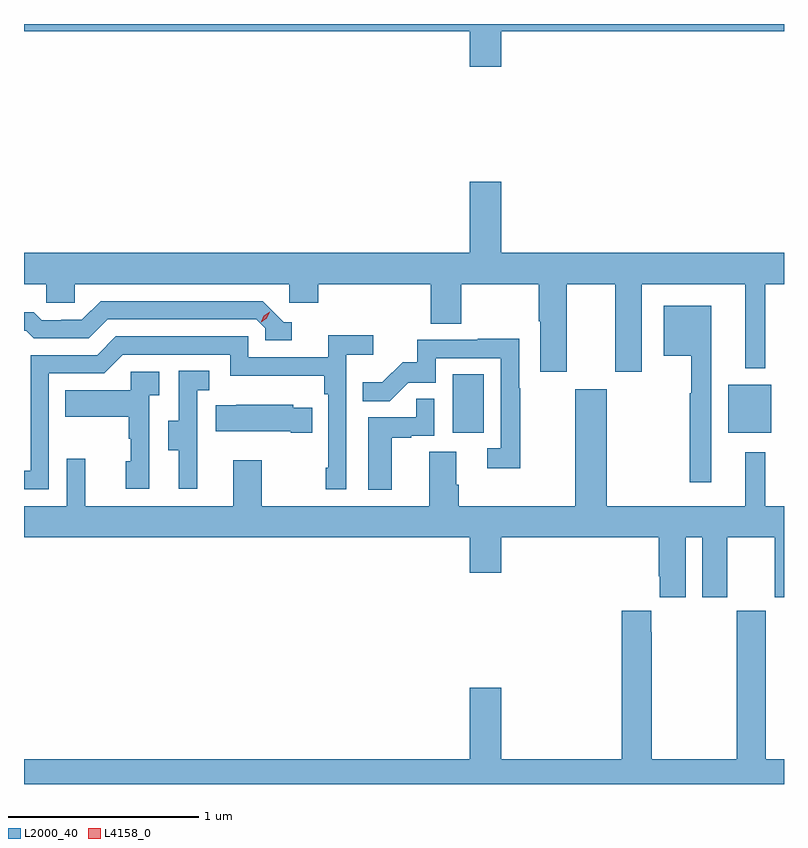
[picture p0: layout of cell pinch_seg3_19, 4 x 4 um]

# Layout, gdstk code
import gdstk
lib = gdstk.Library(unit=1e-6, precision=1e-09)
def R(c, l, rs):  # rectangles x0, y0, x1, y1
    for r in rs: c.add(gdstk.rectangle(r[:2], r[2:], *l))
def P(c, l, *ps):  # polygons
    for p in ps: c.add(gdstk.Polygon(p, *l))
L2000_40 = (2000, 40)
L4158_0 = (4158, 0)

pinch_seg3_19 = lib.new_cell('pinch_seg3_19')
R(pinch_seg3_19, L2000_40, [(1143.389,729.437,1143.616,729.691), (1141.94,729.438,1142.104,729.745)])
P(pinch_seg3_19, L2000_40, [(1142.194,731.552),(1143.683,731.552),(1143.683,731.589),(1139.683,731.589),(1139.683,731.552),(1142.03,731.552),(1142.03,731.364),(1142.194,731.364)],
  [(1142.539,730.22),(1142.795,730.22),(1142.795,729.759),(1142.935,729.759),(1142.935,730.22),(1143.479,730.22),(1143.479,729.776),(1143.583,729.776),(1143.583,730.22),(1143.683,730.22),(1143.683,730.384),(1142.194,730.384),(1142.194,730.759),(1142.03,730.759),(1142.03,730.384),(1139.683,730.384),(1139.683,730.22),(1139.799,730.22),(1139.799,730.122),(1139.949,730.122),(1139.949,730.22),(1141.08,730.22),(1141.08,730.122),(1141.232,730.122),(1141.232,730.22),(1141.823,730.22),(1141.823,730.012),(1141.983,730.012),(1141.983,730.22),(1142.392,730.22),(1142.392,730.024),(1142.399,730.024),(1142.399,729.759),(1142.539,729.759)],
  [(1141.093,730.02),(1141.05,730.02),(1140.939,730.131),(1140.086,730.131),(1139.987,730.032),(1139.88,730.032),(1139.88,730.029),(1139.777,730.029),(1139.735,730.072),(1139.683,730.072),(1139.683,729.975),(1139.696,729.975),(1139.735,729.936),(1140.024,729.936),(1140.123,730.035),(1140.906,730.035),(1140.954,729.987),(1140.954,729.924),(1141.093,729.924)],
  [(1143.301,730.105),(1143.05,730.105),(1143.05,729.842),(1143.195,729.842),(1143.195,729.646),(1143.187,729.646),(1143.187,729.177),(1143.301,729.177)],
  [(1139.814,729.75),(1140.105,729.75),(1140.204,729.849),(1140.768,729.849),(1140.768,729.737),(1141.264,729.737),(1141.264,729.641),(1141.284,729.641),(1141.284,729.253),(1141.272,729.253),(1141.272,729.141),(1141.38,729.141),(1141.38,729.848),(1141.522,729.848),(1141.522,729.95),(1141.283,729.95),(1141.283,729.834),(1140.864,729.834),(1140.864,729.945),(1140.167,729.945),(1140.068,729.846),(1139.718,729.846),(1139.718,729.237),(1139.683,729.237),(1139.683,729.141),(1139.814,729.141)],
  [(1142.294,729.671),(1142.289,729.671),(1142.289,729.932),(1142.071,729.932),(1142.071,729.927),(1141.753,729.927),(1141.753,729.81),(1141.676,729.81),(1141.569,729.703),(1141.465,729.703),(1141.465,729.604),(1141.608,729.604),(1141.706,729.702),(1141.851,729.702),(1141.851,729.831),(1142.193,729.831),(1142.193,729.357),(1142.121,729.357),(1142.121,729.252),(1142.294,729.252)],
  [(1140.596,729.357),(1140.594,729.357),(1140.594,729.661),(1140.658,729.661),(1140.658,729.764),(1140.498,729.764),(1140.498,729.501),(1140.443,729.501),(1140.443,729.346),(1140.497,729.346),(1140.497,729.144),(1140.596,729.144)],
  [(1140.342,729.635),(1140.394,729.635),(1140.394,729.759),(1140.246,729.759),(1140.246,729.661),(1139.899,729.661),(1139.899,729.521),(1140.234,729.521),(1140.234,729.407),(1140.244,729.407),(1140.244,729.288),(1140.218,729.288),(1140.218,729.144),(1140.342,729.144)],
  [(1143.166,728.888),(1143.254,728.888),(1143.254,728.571),(1143.385,728.571),(1143.385,728.888),(1143.635,728.888),(1143.635,728.571),(1143.683,728.571),(1143.683,729.052),(1143.583,729.052),(1143.583,729.334),(1143.479,729.334),(1143.479,729.052),(1142.749,729.052),(1142.749,729.667),(1142.585,729.667),(1142.585,729.052),(1141.97,729.052),(1141.97,729.164),(1141.957,729.164),(1141.957,729.338),(1141.817,729.338),(1141.817,729.052),(1140.933,729.052),(1140.933,729.292),(1140.785,729.292),(1140.785,729.052),(1140.005,729.052),(1140.005,729.301),(1139.907,729.301),(1139.907,729.052),(1139.683,729.052),(1139.683,728.888),(1142.03,728.888),(1142.03,728.7),(1142.194,728.7),(1142.194,728.888),(1143.023,728.888),(1143.023,728.683),(1143.029,728.683),(1143.029,728.571),(1143.166,728.571)],
  [(1141.618,729.411),(1141.721,729.411),(1141.721,729.423),(1141.842,729.423),(1141.842,729.617),(1141.747,729.617),(1141.747,729.519),(1141.496,729.519),(1141.496,729.137),(1141.618,729.137)],
  [(1141.199,729.568),(1141.101,729.568),(1141.101,729.586),(1140.799,729.586),(1140.799,729.583),(1140.691,729.583),(1140.691,729.446),(1141.088,729.446),(1141.088,729.439),(1141.199,729.439)],
  [(1143.683,727.72),(1143.588,727.72),(1143.588,728.5),(1143.433,728.5),(1143.433,727.72),(1142.988,727.72),(1142.988,728.387),(1142.983,728.387),(1142.983,728.5),(1142.828,728.5),(1142.828,727.72),(1142.194,727.72),(1142.194,728.095),(1142.03,728.095),(1142.03,727.72),(1139.683,727.72),(1139.683,727.589),(1143.683,727.589)])
P(pinch_seg3_19, L4158_0, [(1140.931,730.02),(1140.931,730.021),(1140.946,730.054),(1140.976,730.074),(1140.976,730.074),(1140.976,730.074),(1140.961,730.041),(1140.931,730.02)])

lib.write_gds('pinch_seg3_19.gds')
